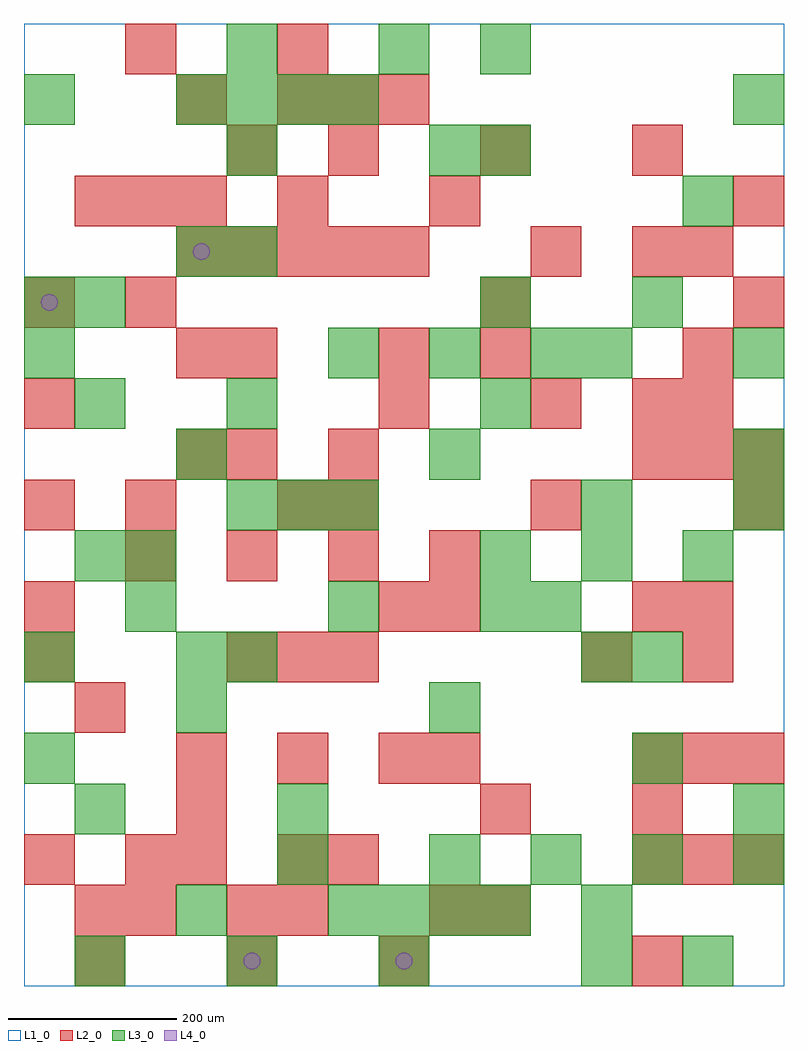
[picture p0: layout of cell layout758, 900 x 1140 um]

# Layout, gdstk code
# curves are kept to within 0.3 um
import gdstk
lib = gdstk.Library(unit=1e-6, precision=1e-09)
def R(c, l, rs):  # rectangles x0, y0, x1, y1
    for r in rs: c.add(gdstk.rectangle(r[:2], r[2:], *l))
def A(c, l, x, y, w, h, nx, ny, dx, dy):  # array of equal rectangles
    R(c, l, [(x+i*dx, y+j*dy, x+i*dx+w, y+j*dy+h) for i in range(nx) for j in range(ny)])
def P(c, l, *ps):  # polygons
    for p in ps: c.add(gdstk.Polygon(p, *l))
L1_0 = (1, 0)
L2_0 = (2, 0)
L3_0 = (3, 0)
L4_0 = (4, 0)

layout758 = lib.new_cell('layout758')
R(layout758, L1_0, [(0,0,900,1140)])
A(layout758, L2_0, 60, 0, 60, 60, 3, 1, 180, 0)
A(layout758, L2_0, 480, 60, 60, 60, 1, 3, 0, 180)
A(layout758, L2_0, 720, 120, 60, 60, 3, 2, 60, 120)
A(layout758, L2_0, 720, 180, 60, 60, 1, 3, 0, 240)
A(layout758, L2_0, 180, 240, 60, 60, 3, 1, 120, 0)
A(layout758, L2_0, 240, 360, 60, 60, 3, 1, 60, 0)
A(layout758, L2_0, 0, 420, 60, 60, 1, 4, 0, 120)
A(layout758, L2_0, 120, 480, 60, 60, 4, 1, 120, 0)
A(layout758, L2_0, 360, 540, 60, 60, 3, 1, 240, 0)
A(layout758, L2_0, 720, 600, 60, 60, 3, 1, 60, 0)
A(layout758, L2_0, 180, 840, 60, 60, 5, 1, 60, 0)
A(layout758, L2_0, 60, 900, 60, 60, 3, 1, 60, 0)
A(layout758, L2_0, 360, 960, 60, 60, 3, 1, 180, 0)
A(layout758, L2_0, 300, 1020, 60, 60, 3, 1, 60, 0)
R(layout758, L2_0, [(720,0,780,60), (60,60,120,120), (120,60,180,120), (240,60,300,120), (300,60,360,120), (540,60,600,120), (0,120,60,180), (120,120,180,180), (180,120,240,180), (300,120,360,180), (360,120,420,180), (180,180,240,240), (540,180,600,240), (60,300,120,360), (0,360,60,420), (660,360,720,420), (780,360,840,420), (420,420,480,480), (780,420,840,480), (120,540,180,600), (300,540,360,600), (180,600,240,660), (240,600,300,660), (360,600,420,660), (420,660,480,720), (600,660,660,720), (780,660,840,720), (180,720,240,780), (240,720,300,780), (420,720,480,780), (540,720,600,780), (780,720,840,780), (120,780,180,840), (540,780,600,840), (840,780,900,840), (600,840,660,900), (720,840,780,900), (780,840,840,900), (300,900,360,960), (480,900,540,960), (840,900,900,960), (240,960,300,1020), (180,1020,240,1080), (120,1080,180,1140), (300,1080,360,1140)])
A(layout758, L3_0, 60, 0, 60, 60, 3, 1, 180, 0)
A(layout758, L3_0, 360, 60, 60, 60, 4, 1, 60, 0)
A(layout758, L3_0, 480, 120, 60, 60, 4, 1, 120, 0)
A(layout758, L3_0, 180, 360, 60, 60, 1, 3, 0, 240)
A(layout758, L3_0, 660, 360, 60, 60, 1, 3, 0, 180)
A(layout758, L3_0, 540, 480, 60, 60, 3, 1, 120, 0)
A(layout758, L3_0, 240, 540, 60, 60, 3, 1, 60, 0)
A(layout758, L3_0, 360, 720, 60, 60, 3, 1, 120, 0)
A(layout758, L3_0, 240, 840, 60, 60, 1, 3, 0, 120)
A(layout758, L3_0, 180, 1020, 60, 60, 4, 1, 60, 0)
R(layout758, L3_0, [(660,0,720,60), (780,0,840,60), (180,60,240,120), (660,60,720,120), (300,120,360,180), (60,180,120,240), (300,180,360,240), (840,180,900,240), (0,240,60,300), (720,240,780,300), (180,300,240,360), (480,300,540,360), (0,360,60,420), (240,360,300,420), (720,360,780,420), (120,420,180,480), (360,420,420,480), (540,420,600,480), (600,420,660,480), (60,480,120,540), (120,480,180,540), (840,540,900,600), (480,600,540,660), (840,600,900,660), (60,660,120,720), (240,660,300,720), (540,660,600,720), (0,720,60,780), (840,720,900,780), (0,780,60,840), (60,780,120,840), (540,780,600,840), (720,780,780,840), (780,900,840,960), (480,960,540,1020), (540,960,600,1020), (0,1020,60,1080), (840,1020,900,1080), (420,1080,480,1140), (540,1080,600,1140)])
P(layout758, L4_0, [(40,810),(39.239,813.827),(37.071,817.071),(33.827,819.239),(30,820),(26.173,819.239),(22.929,817.071),(20.761,813.827),(20,810),(20.761,806.173),(22.929,802.929),(26.173,800.761),(30,800),(33.827,800.761),(37.071,802.929),(39.239,806.173)],
  [(220,870),(219.239,873.827),(217.071,877.071),(213.827,879.239),(210,880),(206.173,879.239),(202.929,877.071),(200.761,873.827),(200,870),(200.761,866.173),(202.929,862.929),(206.173,860.761),(210,860),(213.827,860.761),(217.071,862.929),(219.239,866.173)],
  [(280,30),(279.239,33.827),(277.071,37.071),(273.827,39.239),(270,40),(266.173,39.239),(262.929,37.071),(260.761,33.827),(260,30),(260.761,26.173),(262.929,22.929),(266.173,20.761),(270,20),(273.827,20.761),(277.071,22.929),(279.239,26.173)],
  [(460,30),(459.239,33.827),(457.071,37.071),(453.827,39.239),(450,40),(446.173,39.239),(442.929,37.071),(440.761,33.827),(440,30),(440.761,26.173),(442.929,22.929),(446.173,20.761),(450,20),(453.827,20.761),(457.071,22.929),(459.239,26.173)])

lib.write_gds('layout758.gds')
